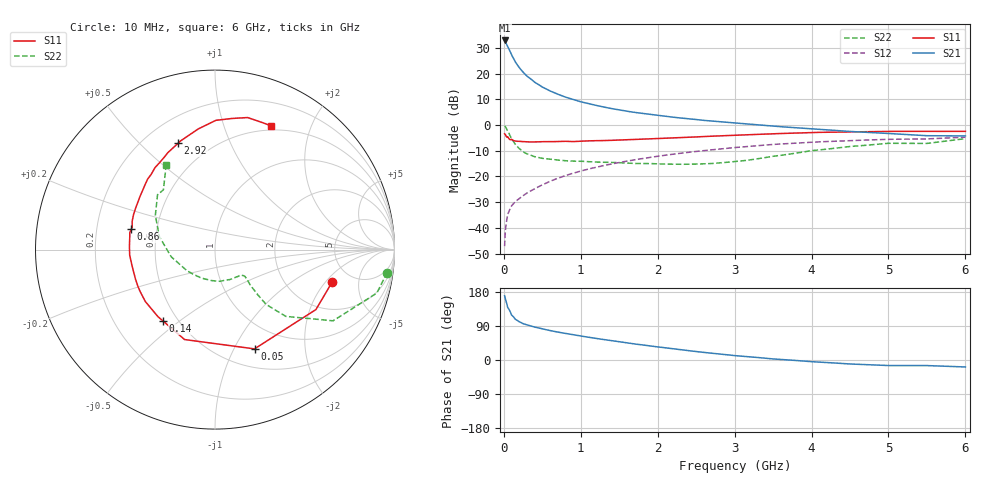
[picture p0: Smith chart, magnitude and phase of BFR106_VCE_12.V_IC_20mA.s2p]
! Infineon Technologies  Discrete & RF Semiconductors
! BFR106
! VCE =  12. V,  IC =  20 mA
! Common Emitter S-Parameters:  Nov 2015
# GHz  S  MA  R  50
!  f  S11  S21  S12  S22
! GHz  MAG  ANG  MAG  ANG  MAG  ANG  MAG  ANG
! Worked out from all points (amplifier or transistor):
!   210 points, 10 MHz to 6 GHz, reference 50 ohm
!   highest |S21| = 33.0 dB at 10 MHz (marker M1)
!   |S21| within 3 dB of that: start of sweep to 61.3 MHz
!   unconditionally stable (mu >= 1): 389.4 MHz to 2.098 GHz
!   at 185 MHz: K = 0.73, MSG = 26.0 dB, |S12| = -28.9 dB
!   at 1.52 GHz: K = 1.06, MAG = 8.7 dB, |S12| = -14.4 dB
!   at 6 GHz: K = 0.98, MSG = 0.2 dB, |S12| = -4.7 dB
!   S11 on the Smith chart (normalised r, x): 10 MHz: 3.51, -2.36; 50 MHz: 0.71, -1.21; 140 MHz: 0.42, -0.44; 860 MHz: 0.36, +0.10; 2.92 GHz: 0.34, +0.66; 6 GHz: 0.45, +1.45
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0.01  0.677 -15.6  44.45 169.3  0.0044 83.1  0.9675 -7.6
0.02  0.6541 -30.7  42.46 160.8  0.0088 76.6  0.9336 -15.0
0.05  0.5954 -68.3  34.18 138.9  0.0182 63.7  0.7681 -31.1
0.1  0.529 -108.7  23.36 118.8  0.0267 55.2  0.5426 -43.3
0.14  0.4921 -125.9  18.08 110.3  0.0313 53.7  0.4419 -46.1
0.15  0.4904 -130.5  16.85 107.3  0.0324 53.4  0.417 -47.0
0.2  0.4841 -143.3  13.17 101.0  0.0371 55.3  0.3495 -46.6
0.24  0.478 -150.9  11.17 97.0  0.0412 57.5  0.3116 -45.9
0.3  0.4726 -159.6  8.995 92.5  0.0475 60.1  0.2764 -45.0
0.4  0.471 -169.4  6.851 86.9  0.0575 62.8  0.2429 -42.9
0.5  0.4763 -176.3  5.505 81.9  0.0686 64.8  0.2256 -41.7
0.6  0.477 178.1  4.631 77.6  0.0805 65.8  0.2167 -42.2
0.7  0.4785 172.8  4.002 73.6  0.0921 66.2  0.2092 -43.4
0.86  0.4801 166.4  3.287 68.0  0.111 66.2  0.2002 -45.3
1.02  0.4888 160.3  2.8 62.7  0.1299 65.8  0.1973 -49.0
1.4  0.5055 147.8  2.097 51.1  0.1751 63.2  0.1879 -60.4
2.02  0.5494 130.4  1.533 34.1  0.2498 56.6  0.1753 -87.0
2.92  0.6271 109.1  1.125 13.4  0.3557 44.9  0.1901 -139.0
3.1  0.6426 105.5  1.068 10.0  0.3757 42.3  0.2018 -149.8
4.1  0.7227 88.2  0.826 -5.5  0.4727 27.1  0.3287 163.0
5.1  0.7566 74.8  0.674 -14.6  0.5308 12.9  0.4419 135.2
6  0.7566 65.7  0.616 -18.4  0.5817 2.0  0.5454 119.9
